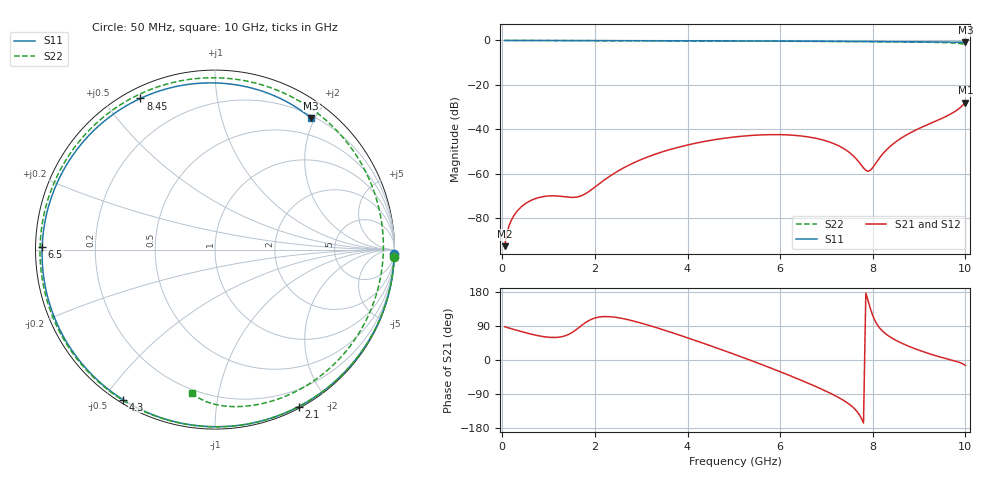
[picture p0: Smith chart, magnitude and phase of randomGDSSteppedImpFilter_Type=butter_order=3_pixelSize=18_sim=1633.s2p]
! freq	dB(S11)	phase(S11)	dB(S12)	phase(S12)
!  dB(S21)	phase(S21)	dB(S22)	phase(S22)
!S-par simulation data
#  GHz  S  DB  R 50
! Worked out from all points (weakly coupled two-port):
!   200 points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, 50 MHz to 10 GHz, reference 50 ohm
!   highest |S21| = -27.94 dB at 10 GHz (marker M1); lowest = -92.5 dB at 50 MHz (marker M2)
!   lowest |S11| = -0.8 dB at 10 GHz (marker M3), VSWR 20.65, Z = 11.7 + j97.4 ohm
!   |S11| at or under -10 dB: nowhere
!   |S22| runs from -1.8 to 0.0 dB; largest |S21 - S12| = 0
!   S11 on the Smith chart (normalised r, x): 50 MHz: 1, -74; 2.1 GHz: 0.02, -1.67; 4.3 GHz: 0.01, -0.56; 6.5 GHz: 0.02, +0.01; 8.45 GHz: 0.04, +0.62; 10 GHz: 0.23, +1.95
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0.05  -0.00 -1.5  -92.52 87.8  -92.52 87.8  -0.01 -2.4
0.2  -0.01 -6.1  -80.66 82.4  -80.66 82.4  -0.01 -9.3
0.45  -0.02 -13.6  -74.14 73.7  -74.14 73.7  -0.02 -20.7
0.75  -0.03 -22.6  -70.89 64.8  -70.89 64.8  -0.04 -34.4
1.25  -0.05 -37.4  -70.05 60.7  -70.05 60.7  -0.07 -56.5
1.75  -0.07 -51.9  -69.45 94.5  -69.45 94.5  -0.09 -77.9
2.1  -0.08 -61.9  -64.34 113.5  -64.34 113.5  -0.11 -92.3
2.7  -0.10 -78.7  -56.44 106.8  -56.44 106.8  -0.14 -116.2
3.4  -0.13 -97.7  -50.47 82.6  -50.47 82.6  -0.17 -143.3
4.3  -0.17 -121.5  -45.68 45.9  -45.68 45.9  -0.22 -178.1
5.05  -0.21 -141.2  -43.33 13.2  -43.33 13.2  -0.27 151.3
5.85  -0.27 -162.7  -42.35 -23.7  -42.35 -23.7  -0.33 115.7
6.5  -0.33 179.1  -43.08 -55.8  -43.08 -55.8  -0.39 83.8
6.7  -0.34 173.3  -43.72 -66.3  -43.72 -66.3  -0.41 73.4
7.35  -0.41 153.6  -48.35 -105.2  -48.35 -105.2  -0.47 38.6
7.9  -0.48 135.6  -58.85 156.0  -58.85 156.0  -0.53 8.7
8.35  -0.53 119.9  -48.12 62.7  -48.12 62.7  -0.60 -15.3
8.45  -0.54 116.2  -46.34 55.2  -46.34 55.2  -0.62 -20.6
8.9  -0.61 99.3  -40.59 30.3  -40.59 30.3  -0.72 -43.5
9.3  -0.67 83.4  -36.81 13.5  -36.81 13.5  -0.84 -63.2
9.7  -0.75 66.7  -32.87 -0.3  -32.87 -0.3  -1.09 -82.9
10  -0.84 53.8  -27.94 -14.3  -27.94 -14.3  -1.84 -99.0
